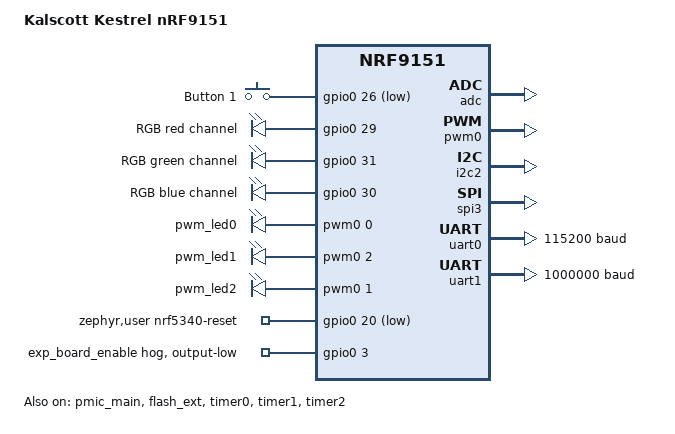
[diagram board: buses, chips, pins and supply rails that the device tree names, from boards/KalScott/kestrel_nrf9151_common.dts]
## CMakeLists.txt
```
cmake_minimum_required(VERSION 3.20.0)
find_package(Zephyr REQUIRED HINTS $ENV{ZEPHYR_BASE})

project(provision_config)

zephyr_include_directories(drivers)
target_sources(app PRIVATE src/main.c)
target_sources(app PRIVATE src/fota.c)
target_sources(app PRIVATE src/enc.c)
target_sources(app PRIVATE src/ca.c)
target_sources(app PRIVATE src/aes.c)
target_sources(app PRIVATE src/private.c)
target_sources(app PRIVATE src/public.c)
target_sources(app PRIVATE drivers/led/led_driver.c)
target_sources(app PRIVATE src/test.c)
# target_sources(app PRIVATE src/pem_command.c)
# target_sources(app PRIVATE src/shell_commands.c)
target_sources(app PRIVATE src/config.c)
target_sources(app PRIVATE src/encryption_helper.c)
```

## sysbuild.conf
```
SB_CONFIG_BOOTLOADER_MCUBOOT=y
SB_CONFIG_BOOT_SIGNATURE_KEY_FILE="C:/Users/leona/Desktop/autobuilder/bob/nrid001/nrid001_boot.pem"
SB_CONFIG_BOOT_SIGNATURE_TYPE_ECDSA_P256=y
SB_CONFIG_SECURE_BOOT_SIGNING_KEY_FILE="C:/Users/leona/Desktop/autobuilder/bob/nrid001/nrid001_boot.pem"
SB_CONFIG_SECURE_BOOT_SIGNATURE_TYPE_ECDSA=y
```

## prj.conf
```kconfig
# System
CONFIG_REBOOT=y

# Logging
CONFIG_LOG=y
CONFIG_LOG_PRINTK=y
CONFIG_LOG_CMDS=y
CONFIG_LOG_DEFAULT_LEVEL=3
# Enable log colors
CONFIG_LOG_BACKEND_SHOW_COLOR=y


CONFIG_SERIAL=y
CONFIG_GPIO=y

# Peripherals
CONFIG_DK_LIBRARY=y
CONFIG_I2C=y


# Newlib
CONFIG_NEWLIB_LIBC=y
CONFIG_FPU=y
CONFIG_NEWLIB_LIBC_FLOAT_PRINTF=y

# Networking
CONFIG_NETWORKING=y
CONFIG_NET_NATIVE=n
CONFIG_NET_SOCKETS_OFFLOAD=y
CONFIG_NET_SOCKETS=y
CONFIG_POSIX_API=y

# Memory
CONFIG_THREAD_ANALYZER=y


# Modem library
CONFIG_NRF_MODEM_LIB=y
CONFIG_MODEM_KEY_MGMT=y
CONFIG_MODEM_INFO=y
CONFIG_MODEM_INFO_ADD_NETWORK=y
CONFIG_MODEM_INFO_ADD_SIM=y
CONFIG_MODEM_INFO_ADD_SIM_IMSI=y
CONFIG_MODEM_INFO_ADD_SIM_ICCID=y
CONFIG_MODEM_INFO_ADD_DEVICE=y
CONFIG_MODEM_INFO_ADD_DATE_TIME=n


# LTE link control
CONFIG_LTE_LINK_CONTROL=y
CONFIG_LTE_NETWORK_MODE_LTE_M_NBIOT_GPS=y
CONFIG_LTE_LC_EDRX_MODULE=n
CONFIG_LTE_LC_PSM_MODULE=y

# AT commands interface
CONFIG_AT_HOST_LIBRARY=n
CONFIG_UART_INTERRUPT_DRIVEN=y

# MQTT
# Enable and configure the MQTT library
CONFIG_MQTT_LIB=y
CONFIG_MQTT_CLEAN_SESSION=y

# Core settings API
CONFIG_SETTINGS=y

# Store in a flash circular buffer
CONFIG_FCB=y
CONFIG_SETTINGS_FCB=y
CONFIG_SETTINGS=y

# Flash and mapping
CONFIG_FLASH=y
CONFIG_FLASH_MAP=y

# Shell & logging on your existing console
CONFIG_SHELL=y
CONFIG_SHELL_BACKEND_SERIAL=y   # use the existing console UART/USB-CDC
CONFIG_SHELL_LOG_BACKEND=y      # pipe LOG_* into the shell prompt
CONFIG_UART_INTERRUPT_DRIVEN=y  # required by the shell’s serial backend
CONFIG_SHELL_PROMPT_UART="x"
CONFIG_NEWLIB_LIBC=y
CONFIG_SHELL_CMDS=y

CONFIG_DK_LIBRARY=y
CONFIG_GPIO=y
CONFIG_SENSOR=y
CONFIG_NRF_MODEM_LIB=y

CONFIG_NET_PKT_RX_COUNT=4
CONFIG_NET_BUF_RX_COUNT=8
CONFIG_NET_BUF_DATA_SIZE=256

CONFIG_MAIN_STACK_SIZE=10000
CONFIG_LOG_BUFFER_SIZE=6000
CONFIG_HEAP_MEM_POOL_SIZE=32000  
CONFIG_SYSTEM_WORKQUEUE_STACK_SIZE=8096
CONFIG_MBEDTLS_HEAP_SIZE=3200

#TLS
CONFIG_NETWORKING=y
CONFIG_NET_NATIVE=n
CONFIG_NET_SOCKETS_OFFLOAD=y
# Enable TLS support in Zephyr sockets
CONFIG_NET_SOCKETS=y
CONFIG_MQTT_LIB_TLS=y
# Enable MbedTLS for TLS
CONFIG_MBEDTLS=y
CONFIG_MBEDTLS_ENABLE_HEAP=y
# Enable modem TLS credential storage
CONFIG_MODEM_KEY_MGMT=y

#crypto
# Enable PSA Crypto core
CONFIG_NRF_SECURITY=y
CONFIG_BUILD_WITH_TFM=y
CONFIG_MBEDTLS_PSA_CRYPTO_C=y
CONFIG_PSA_WANT_GENERATE_RANDOM=y
CONFIG_PSA_WANT_KEY_TYPE_AES=y
CONFIG_PSA_WANT_ALG_GCM=y
CONFIG_TFM_PROFILE_TYPE_NOT_SET=y
CONFIG_PSA_CRYPTO_DRIVER_CC3XX=y
CONFIG_PM_PARTITION_SIZE_TFM_SRAM=0x10000
CONFIG_BOOTLOADER_MCUBOOT=y
CONFIG_MBEDTLS_PSA_CRYPTO_STORAGE_C=y
CONFIG_TFM_ITS_ENCRYPTED=y
CONFIG_PSA_WANT_ALG_PBKDF2_HMAC=y
CONFIG_PSA_WANT_ALG_SHA3_256=y
CONFIG_PSA_WANT_KEY_TYPE_PASSWORD=y
CONFIG_PSA_WANT_ALG_HMAC=y


# Image manager
CONFIG_IMG_MANAGER=y
CONFIG_FLASH=y
CONFIG_FLASH_MAP=y
CONFIG_STREAM_FLASH=y
CONFIG_IMG_ERASE_PROGRESSIVELY=y
CONFIG_DOWNLOADER=y
CONFIG_DOWNLOADER_STACK_SIZE=4096
CONFIG_DFU_TARGET=y
CONFIG_MODEM_KEY_MGMT=y
CONFIG_FOTA_DOWNLOAD=y

CONFIG_SHELL_STACK_SIZE=6096
CONFIG_SHELL=y
CONFIG_SHELL_CMDS=n
CONFIG_SHELL_DEVICE_HELPERS=n
CONFIG_SHELL=y
CONFIG_SHELL_BACKEND_SERIAL=y   # use the existing console UART/USB-CDC
CONFIG_SHELL_LOG_BACKEND=y      # pipe LOG_* into the shell prompt
CONFIG_UART_INTERRUPT_DRIVEN=y  # required by the shell’s serial backend
CONFIG_SHELL_PROMPT_UART="x"
CONFIG_NEWLIB_LIBC=y
CONFIG_DATE_SHELL=n
CONFIG_DEVICE_SHELL=n
CONFIG_DEVMEM_SHELL=n
CONFIG_KERNEL_SHELL=n
CONFIG_SHELL_BACKEND_SERIAL_RX_RING_BUFFER_SIZE=528

CONFIG_NET_BUF=y
CONFIG_ZCBOR=y
CONFIG_CRC=y
CONFIG_MCUMGR=y
CONFIG_STREAM_FLASH=y
CONFIG_FLASH_MAP=y
CONFIG_THREAD_MONITOR=y
CONFIG_MCUMGR_GRP_OS_TASKSTAT=y
CONFIG_STATS=y
CONFIG_STATS_NAMES=y
CONFIG_FLASH=y
CONFIG_IMG_MANAGER=y
CONFIG_MCUMGR_GRP_IMG=y
CONFIG_MCUMGR_GRP_OS=y
CONFIG_MCUMGR_GRP_STAT=y
CONFIG_MCUBOOT_UTIL_LOG_LEVEL_WRN=y
CONFIG_MCUMGR_GRP_OS_ECHO=y
CONFIG_BASE64=y
CONFIG_CRC=y
CONFIG_MCUMGR_TRANSPORT_UART=y
CONFIG_CONSOLE=y
CONFIG_UART_INTERRUPT_DRIVEN=y
# CONFIG_UART_CONSOLE=n
# CONFIG_SHELL=y
# CONFIG_SHELL_BACKEND_DUMMY=y
# CONFIG_MCUMGR_TRANSPORT_DUMMY=y
# CONFIG_MCUMGR_TRANSPORT_SHELL=y
# CONFIG_SHELL_LOG_BACKEND=n
# CONFIG_SHELL_BACKEND_SERIAL=n

CONFIG_MCUMGR_LOG_LEVEL_DBG=y
CONFIG_DOWNLOADER_LOG_LEVEL_DBG=y
CONFIG_FOTA_DOWNLOAD_LOG_LEVEL_DBG=y
CONFIG_LTE_LINK_CONTROL_LOG_LEVEL_DBG=y
```

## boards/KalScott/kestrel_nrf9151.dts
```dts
/*
 * Copyright (c) 2024 Nordic Semiconductor
 * SPDX-License-Identifier: LicenseRef-Nordic-5-Clause
 */

/dts-v1/;
#include <nordic/nrf9151_laca.dtsi>
#include "kestrel_nrf9151_common.dts"

/ {
	chosen {
		zephyr,sram = &sram0;
		zephyr,flash = &flash0;
		zephyr,code-partition = &slot0_partition;
		zephyr,wifi = &nordic_wlan0;
	};
};
```

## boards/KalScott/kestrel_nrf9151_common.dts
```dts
/*
 * Copyright (c) 2024 Nordic Semiconductor
 * SPDX-License-Identifier: LicenseRef-Nordic-5-Clause
 */

#include "kestrel_nrf9151_common-pinctrl.dtsi"
#include "kestrel_common.dtsi"

/ {
	model = "Kalscott Kestrel nRF9151";
	compatible = "Kalscott,kestrel-nrf9151";

	chosen {
		zephyr,console = &uart0;
		zephyr,shell-uart = &uart0;
		zephyr,uart-mcumgr = &uart0;
		nordic,pm-ext-flash = &flash_ext;
	};

	buttons {
		compatible = "gpio-keys";

		button0: button_0 {
			gpios = <&gpio0 26 (GPIO_PULL_UP | GPIO_ACTIVE_LOW)>;
			label = "Button 1";
		};
	};

	leds {
		compatible = "gpio-leds";
		red_led: led_1 {
			gpios = <&gpio0 29 0>;
			label = "RGB red channel";
		};
		green_led: led_2 {
			gpios = <&gpio0 31 0>;
			label = "RGB green channel";
		};
		blue_led: led_3 {
			gpios = <&gpio0 30 0>;
			label = "RGB blue channel";
		};
	};

	pwmleds {
		compatible = "pwm-leds";
		pwm_led0: pwm_led_0 {
			pwms = <&pwm0 0 PWM_MSEC(8) PWM_POLARITY_NORMAL>;
		};
		pwm_led1: pwm_led_1 {
			pwms = <&pwm0 2 PWM_MSEC(8) PWM_POLARITY_NORMAL>;
		};
		pwm_led2: pwm_led_2 {
			pwms = <&pwm0 1 PWM_MSEC(8) PWM_POLARITY_NORMAL>;
		};
	};
	zephyr,user {
		nrf5340-reset-gpios = <&gpio0 20 GPIO_ACTIVE_LOW>;
	};

	aliases {
		sw0 = &button0;
		led0 = &red_led;
		led1 = &green_led;
		led2 = &blue_led;
		pwm-led0 = &pwm_led0;
		pwm-led1 = &pwm_led1;
		pwm-led2 = &pwm_led2;
		rgb-pwm = &pwm0;
		mcuboot-button0 = &button0;
		spi-flash0 = &flash_ext;
	};
};

&adc {
	status = "okay";
};

&gpiote {
	status = "okay";
};

&gpio0 {
	status = "okay";
	/* Use PORT event rather than GPIOTE IN event, to save power */
	sense-edge-mask = <0xffffffff>;
	/* Load switch controlling 3.3V supply and I/O voltage for external boards */
	exp_board_enable: exp_board_enable {
		gpio-hog;
		output-low;
		gpios = <3 GPIO_ACTIVE_HIGH>;
	};
};

/* PWM0 is intended for RGB LED control */
&pwm0 {
	status = "okay";
	pinctrl-0 = <&pwm0_default>;
	pinctrl-1 = <&pwm0_sleep>;
	pinctrl-names = "default", "sleep";
};

&pmic_main {
	host-int-gpios = <&gpio0 2 GPIO_ACTIVE_HIGH>; //INT1
};
&accelerometer_hp {
	irq-gpios = <&gpio0 6 GPIO_ACTIVE_LOW>; //INT2
};
&magnetometer {
	drdy-gpios = <&gpio0 7 GPIO_ACTIVE_LOW>; //INT3
};
&accelerometer_lp {
	int1-gpios = <&gpio0 11 GPIO_ACTIVE_HIGH>; //INT4
};

&flash_ext {
	status = "okay";
};

&nrf70 {
	iovdd-ctrl-gpios = <&gpio0 27 (GPIO_ACTIVE_HIGH | GPIO_PULL_DOWN)>;
	bucken-gpios = <&gpio0 28 (GPIO_ACTIVE_HIGH | GPIO_PULL_DOWN)>;
	host-irq-gpios = <&gpio0 16 GPIO_ACTIVE_HIGH>;
};

&i2c2 {
	status = "okay";
};
&spi3 {
	status = "okay";
	cs-gpios = <&gpio0 12 GPIO_ACTIVE_LOW>, // FLASH_CS
		   <&gpio0 17 GPIO_ACTIVE_LOW>, // WIFI_CS
		   <&gpio0 10 GPIO_ACTIVE_LOW>; // BMI270_CS
};

&pmic_main {
	status = "okay";
	npm1300_gpios {
		status = "okay";
	};
	regulators {
		status = "okay";
	};
	charger {
		status = "okay";
	};
};

&timer0 {
	status = "okay";
};

&timer1 {
	status = "okay";
};

&timer2 {
	status = "okay";
};

&uart0 {
	compatible = "nordic,nrf-uarte";
	current-speed = <115200>;
	status = "okay";
	pinctrl-0 = <&uart0_default>;
	pinctrl-1 = <&uart0_sleep>;
	pinctrl-names = "default", "sleep";
};

&uart1 {
	current-speed = <1000000>;
	status = "okay";
	pinctrl-0 = <&uart1_default>;
	pinctrl-1 = <&uart1_sleep>;
	pinctrl-names = "default", "sleep";
};

/* Include default memory partition configuration file. */
/* This is not the layout that's actually used! It's overridden by Partition Manager. */
#include <common/nordic/nrf91xx_partition.dtsi>
```

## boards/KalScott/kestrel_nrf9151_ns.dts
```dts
/*
 * Copyright (c) 2024 Nordic Semiconductor
 * SPDX-License-Identifier: LicenseRef-Nordic-5-Clause
 */

/dts-v1/;
#include <nordic/nrf9151ns_laca.dtsi>
#include "kestrel_nrf9151_common.dts"

/ {
	chosen {
		zephyr,flash = &flash0;
		zephyr,sram = &sram0_ns_app;
		zephyr,code-partition = &slot0_ns_partition;
		zephyr,wifi = &nordic_wlan0;
	};
};

/* Disable Zephyr driver for UART1. This port is reserved for modem traces and T-FM logging.
 */
&uart1 {
	status = "disabled";
};
```

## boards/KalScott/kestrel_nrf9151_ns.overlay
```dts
&i2c2 {
	status = "okay";
	clock-frequency = <I2C_BITRATE_FAST>;
    zephyr,concat-buf-size = <64>;
    zephyr,flash-buf-max-size = <64>;
};

&bme680 {
	status = "okay";
};

&magnetometer {
    status = "okay";
};

&accelerometer_hp {
    status = "okay";
};

&accelerometer_lp {
    status = "okay";
};

/ {

	aliases {
		temp-sensor = &bme680;
		imu = &accelerometer_hp;
		magnetometer = &magnetometer;
		acl = &accelerometer_lp;
	};
};

&flash_ext {
    status = "okay";
};

&spi3 {
	status = "okay";
};
```

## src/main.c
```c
#include <zephyr/kernel.h>
#include "certs.h"
#include <modem/modem_key_mgmt.h>
#include <modem/nrf_modem_lib.h>
#include <nrf_modem_gnss.h>
#include <nrf_modem_at.h>
#include <modem/lte_lc.h>
#include <zephyr/shell/shell.h>
#include <psa/protected_storage.h>
#include <psa/crypto.h>
#include <stdio.h>
#include <string.h>
#include <stdlib.h>
#include <tfm_ns_interface.h>
#include "fota.h"
#include "enc.h"
#include "test.h"
#include "config.h"
#include <zephyr/kernel.h>
#include <zephyr/shell/shell.h>
#include <zephyr/init.h>
#include <zephyr/sys/printk.h>
#include <ctype.h>
#define TLS_SEC_TAG 42



#define PBKDF2_ITERATIONS 64000u

#define NRF_CRYPTO_EXAMPLE_HMAC_TEXT_SIZE (100)
#define NRF_CRYPTO_EXAMPLE_HMAC_KEY_SIZE (32)
#define SAMPLE_PERS_KEY_ID				PSA_KEY_ID_USER_MIN
#define PRINT_HEX(p_label, p_text, len)\
	({\
		LOG_INF("---- %s (len: %u): ----", p_label, len);\
		LOG_HEXDUMP_INF(p_text, len, "Content:");\
		LOG_INF("---- %s end  ----", p_label);\
	})

LOG_MODULE_REGISTER(hmac, LOG_LEVEL_DBG);
#define HMAC_KEY_ID ((psa_key_id_t)0x6001)
#define HMAC_KEY_LEN 32







static inline uint16_t read_u16_le(const uint8_t *p) {
    return p[0] | (p[1] << 8);
}

static inline uint32_t read_u32_le(const uint8_t *p) {
    return p[0] | (p[1] << 8) | (p[2] << 16) | (p[3] << 24);
}



static bool aad_equals_key(const ConfigEntry *e, const char *key)
{
    size_t klen = strlen(key);
    return (e->aad_len == klen) && (memcmp(e->aad, key, klen) == 0);
}

static int hex_nibble(char c){
    if (c>='0'&&c<='9') return c-'0';
    c=(char)tolower((unsigned char)c);
    if (c>='a'&&c<='f') return 10+(c-'a');
    return -1;
}
static bool is_hex(const char* s,size_t n){
    if(n==0||(n&1)) return false;
    for(size_t i=0;i<n;i++){
        char c=s[i];
        if(!((c>='0'&&c<='9')||(c>='a'&&c<='f')||(c>='A'&&c<='F'))) return false;
    }
    return true;
}
static bool hex_to_bytes(const char*hex,size_t n,uint8_t*out,size_t*out_len){
    if(!is_hex(hex,n)) return false;
    size_t m=n/2;
    for(size_t i=0;i<m;i++){
        int hi=hex_nibble(hex[2*i]), lo=hex_nibble(hex[2*i+1]);
        if(hi<0||lo<0) return false;
        out[i]=(uint8_t)((hi<<4)|lo);
    }
    *out_len=m; return true;
}

static const ConfigEntry* find_entry(const char* key){
    size_t klen=strlen(key);
    for(int i=0;i<num_entries;i++){
        if(entries[i].aad_len==klen && memcmp(entries[i].aad,key,klen)==0) return &entries[i];
    }
    return NULL;
}

static int derive_pbkdf2_sha256(const uint8_t* pw,size_t pw_len,
                                const uint8_t* salt,size_t salt_len,
                                uint32_t iters,uint8_t*out,size_t out_len){
    psa_status_t st;
    psa_key_derivation_operation_t op=PSA_KEY_DERIVATION_OPERATION_INIT;
    st=psa_key_derivation_setup(&op, PSA_ALG_PBKDF2_HMAC(PSA_ALG_SHA_256)); if(st) goto done;
    st=psa_key_derivation_input_integer(&op, PSA_KEY_DERIVATION_INPUT_COST, iters); if(st) goto done;
    st=psa_key_derivation_input_bytes(&op, PSA_KEY_DERIVATION_INPUT_SALT, salt, salt_len); if(st) goto done;
    st=psa_key_derivation_input_bytes(&op, PSA_KEY_DERIVATION_INPUT_PASSWORD, pw, pw_len); if(st) goto done;
    st=psa_key_derivation_output_bytes(&op, out, out_len);
done:
    psa_key_derivation_abort(&op);
    return st==PSA_SUCCESS?0:-1;
}









static int provision_cert(enum modem_key_mgmt_cred_type type, const uint8_t *data, size_t data_len)
{
    printk("Provisioning certificate type %d...\n", type);
    bool exists;
    modem_key_mgmt_exists(TLS_SEC_TAG, type, &exists);
    if (exists) { 
        printk("Certificate type %d already exists.\n", type);
        return 0;
    }

    printk("Writing certificate type %d...\n", type);
    return modem_key_mgmt_write(TLS_SEC_TAG, type, data, data_len);
}



psa_status_t key_exists(psa_key_id_t key_id)
{
    psa_status_t status;
    psa_key_attributes_t attr = PSA_KEY_ATTRIBUTES_INIT;

    status = psa_get_key_attributes(key_id, &attr);
    psa_reset_key_attributes(&attr);

    if (status == PSA_SUCCESS) {
        printk("Key 0x%08x exists.\n", key_id);
    } else if (status == PSA_ERROR_DOES_NOT_EXIST) {
        printk("Key 0x%08x does NOT exist.\n", key_id);
    } else {
        printk("Failed to query key 0x%08x (status: %d)\n", key_id, status);
    }

    return status;
}

int provision_all(void)
{
	int err = 0;

        err = nrf_modem_lib_init();
	if (err) {
                
		return err;
	}

	err = provision_cert(MODEM_KEY_MGMT_CRED_TYPE_CA_CHAIN, ca_cert, ca_cert_len);
    printk("provision ca_cert: %d\n", err);
    err = provision_cert(MODEM_KEY_MGMT_CRED_TYPE_PUBLIC_CERT, public_cert, public_cert_len);
    printk("provision public_cert: %d\n", err);
    err = provision_cert(MODEM_KEY_MGMT_CRED_TYPE_PRIVATE_CERT, private_key, private_key_len);
    printk("provision private_key: %d\n", err);

	err = provision_config_data();
	if (err) {
		printk("Failed to provision config data: %d\n", err);
	}

	return err;
}


int main(void)
{
        k_sleep(K_MSEC(2000)); 
        printk("TESTING HMAC\n");
        test();
        printk("HMAC test completed.\n");
        k_sleep(K_MSEC(1000));
        printk("Starting provisioning...\n");
        provision_all();
        printk("Provisioning finished.\n");
		k_sleep(K_MSEC(1000));
		parse_encrypted_blob();
        config_init();
		

		printf("Parsed %d config entries\n", num_entries);
		for (int i = 0; i < num_entries; i++) {
			printf("Entry %d at 0x%08X: AAD='%.*s', CT len=%d\n",
				i, entries[i].mem_offset,
				entries[i].aad_len, entries[i].aad,
				entries[i].ciphertext_len
			);
		}

	
		k_sleep(K_MSEC(5000));
        //test_pbkdf2_verify_from_blob_simple();
        k_sleep(K_MSEC(5000 * 1));
		printk("INIT FOTA");
		fota_init_and_start();
		printk("FOTA initialization complete.\n");
        return 0;
}
```

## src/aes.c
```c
#include <stdint.h>
#include <stddef.h>


const uint8_t aes_key[32] = { 0x41, 0x86, 0xa3, 0x9b, 0x76, 0x5a, 0xc8, 0x3b, 0x8f, 0x2a, 0xd6, 0xdb, 0x3c, 0xfd, 0xae, 0xcd, 0xc0, 0x95, 0x37, 0x6c, 0x23, 0x9a, 0x07, 0x2e, 0x97, 0xb7, 0x27, 0xe6, 0x6a, 0x30, 0xab, 0x5f };
const size_t aes_key_len = 32;
```

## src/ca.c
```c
#include <stdint.h>
#include <stddef.h>

const uint8_t ca_cert[2064] = { 0x2d, 0x2d, 0x2d, 0x2d, 0x2d, 0x42, 0x45, 0x47, 0x49, 0x4e, 0x20, 0x43, 0x45, 0x52, 0x54, 0x49, 0x46, 0x49, 0x43, 0x41, 0x54, 0x45, 0x2d, 0x2d, 0x2d, 0x2d, 0x2d, 0x0a, 0x4d, 0x49, 0x49, 0x46, 0x79, 0x54, 0x43, 0x43, 0x41, 0x37, 0x47, 0x67, 0x41, 0x77, 0x49, 0x42, 0x41, 0x67, 0x49, 0x55, 0x50, 0x47, 0x56, 0x7a, 0x38, 0x49, 0x57, 0x79, 0x67, 0x6d, 0x75, 0x51, 0x4d, 0x51, 0x36, 0x4e, 0x32, 0x38, 0x38, 0x36, 0x56, 0x76, 0x44, 0x62, 0x34, 0x71, 0x59, 0x77, 0x44, 0x51, 0x59, 0x4a, 0x4b, 0x6f, 0x5a, 0x49, 0x68, 0x76, 0x63, 0x4e, 0x41, 0x51, 0x45, 0x4c, 0x0a, 0x42, 0x51, 0x41, 0x77, 0x64, 0x44, 0x45, 0x4c, 0x4d, 0x41, 0x6b, 0x47, 0x41, 0x31, 0x55, 0x45, 0x42, 0x68, 0x4d, 0x43, 0x56, 0x56, 0x4d, 0x78, 0x43, 0x7a, 0x41, 0x4a, 0x42, 0x67, 0x4e, 0x56, 0x42, 0x41, 0x67, 0x4d, 0x41, 0x6b, 0x74, 0x54, 0x4d, 0x52, 0x45, 0x77, 0x44, 0x77, 0x59, 0x44, 0x56, 0x51, 0x51, 0x48, 0x44, 0x41, 0x68, 0x4d, 0x59, 0x58, 0x64, 0x79, 0x5a, 0x57, 0x35, 0x6a, 0x0a, 0x5a, 0x54, 0x45, 0x52, 0x4d, 0x41, 0x38, 0x47, 0x41, 0x31, 0x55, 0x45, 0x43, 0x67, 0x77, 0x49, 0x53, 0x32, 0x46, 0x73, 0x63, 0x32, 0x4e, 0x76, 0x64, 0x48, 0x51, 0x78, 0x4d, 0x6a, 0x41, 0x77, 0x42, 0x67, 0x4e, 0x56, 0x42, 0x41, 0x4d, 0x4d, 0x4b, 0x57, 0x56, 0x6a, 0x4d, 0x69, 0x30, 0x78, 0x4f, 0x43, 0x30, 0x79, 0x4d, 0x7a, 0x51, 0x74, 0x4f, 0x54, 0x6b, 0x74, 0x4d, 0x54, 0x55, 0x78, 0x0a, 0x4c, 0x6d, 0x4e, 0x76, 0x62, 0x58, 0x42, 0x31, 0x64, 0x47, 0x55, 0x74, 0x4d, 0x53, 0x35, 0x68, 0x62, 0x57, 0x46, 0x36, 0x62, 0x32, 0x35, 0x68, 0x64, 0x33, 0x4d, 0x75, 0x59, 0x32, 0x39, 0x74, 0x4d, 0x42, 0x34, 0x58, 0x44, 0x54, 0x49, 0x31, 0x4d, 0x44, 0x63, 0x77, 0x4d, 0x7a, 0x49, 0x77, 0x4d, 0x44, 0x49, 0x78, 0x4e, 0x46, 0x6f, 0x58, 0x44, 0x54, 0x4d, 0x31, 0x4d, 0x44, 0x63, 0x77, 0x0a, 0x4d, 0x54, 0x49, 0x77, 0x4d, 0x44, 0x49, 0x78, 0x4e, 0x46, 0x6f, 0x77, 0x64, 0x44, 0x45, 0x4c, 0x4d, 0x41, 0x6b, 0x47, 0x41, 0x31, 0x55, 0x45, 0x42, 0x68, 0x4d, 0x43, 0x56, 0x56, 0x4d, 0x78, 0x43, 0x7a, 0x41, 0x4a, 0x42, 0x67, 0x4e, 0x56, 0x42, 0x41, 0x67, 0x4d, 0x41, 0x6b, 0x74, 0x54, 0x4d, 0x52, 0x45, 0x77, 0x44, 0x77, 0x59, 0x44, 0x56, 0x51, 0x51, 0x48, 0x44, 0x41, 0x68, 0x4d, 0x0a, 0x59, 0x58, 0x64, 0x79, 0x5a, 0x57, 0x35, 0x6a, 0x5a, 0x54, 0x45, 0x52, 0x4d, 0x41, 0x38, 0x47, 0x41, 0x31, 0x55, 0x45, 0x43, 0x67, 0x77, 0x49, 0x53, 0x32, 0x46, 0x73, 0x63, 0x32, 0x4e, 0x76, 0x64, 0x48, 0x51, 0x78, 0x4d, 0x6a, 0x41, 0x77, 0x42, 0x67, 0x4e, 0x56, 0x42, 0x41, 0x4d, 0x4d, 0x4b, 0x57, 0x56, 0x6a, 0x4d, 0x69, 0x30, 0x78, 0x4f, 0x43, 0x30, 0x79, 0x4d, 0x7a, 0x51, 0x74, 0x0a, 0x4f, 0x54, 0x6b, 0x74, 0x4d, 0x54, 0x55, 0x78, 0x4c, 0x6d, 0x4e, 0x76, 0x62, 0x58, 0x42, 0x31, 0x64, 0x47, 0x55, 0x74, 0x4d, 0x53, 0x35, 0x68, 0x62, 0x57, 0x46, 0x36, 0x62, 0x32, 0x35, 0x68, 0x64, 0x33, 0x4d, 0x75, 0x59, 0x32, 0x39, 0x74, 0x4d, 0x49, 0x49, 0x43, 0x49, 0x6a, 0x41, 0x4e, 0x42, 0x67, 0x6b, 0x71, 0x68, 0x6b, 0x69, 0x47, 0x39, 0x77, 0x30, 0x42, 0x41, 0x51, 0x45, 0x46, 0x0a, 0x41, 0x41, 0x4f, 0x43, 0x41, 0x67, 0x38, 0x41, 0x4d, 0x49, 0x49, 0x43, 0x43, 0x67, 0x4b, 0x43, 0x41, 0x67, 0x45, 0x41, 0x73, 0x69, 0x38, 0x71, 0x6f, 0x59, 0x75, 0x62, 0x67, 0x2f, 0x64, 0x47, 0x39, 0x66, 0x36, 0x68, 0x30, 0x36, 0x73, 0x5a, 0x42, 0x55, 0x35, 0x63, 0x4c, 0x72, 0x57, 0x37, 0x70, 0x55, 0x79, 0x6b, 0x56, 0x63, 0x42, 0x33, 0x35, 0x38, 0x4a, 0x38, 0x6d, 0x64, 0x7a, 0x69, 0x0a, 0x6d, 0x39, 0x41, 0x4d, 0x50, 0x44, 0x46, 0x55, 0x48, 0x78, 0x73, 0x39, 0x77, 0x5a, 0x44, 0x79, 0x6b, 0x31, 0x32, 0x79, 0x2b, 0x70, 0x30, 0x75, 0x6d, 0x7a, 0x34, 0x6e, 0x48, 0x65, 0x74, 0x56, 0x45, 0x5a, 0x7a, 0x2f, 0x56, 0x4e, 0x72, 0x39, 0x41, 0x62, 0x2f, 0x58, 0x6b, 0x45, 0x44, 0x68, 0x52, 0x68, 0x42, 0x42, 0x53, 0x6f, 0x39, 0x65, 0x66, 0x47, 0x70, 0x75, 0x6c, 0x45, 0x38, 0x2b, 0x0a, 0x62, 0x7a, 0x4d, 0x32, 0x6b, 0x72, 0x32, 0x62, 0x37, 0x7a, 0x43, 0x56, 0x56, 0x67, 0x36, 0x31, 0x35, 0x79, 0x69, 0x7a, 0x6c, 0x2f, 0x77, 0x37, 0x30, 0x73, 0x77, 0x71, 0x45, 0x69, 0x53, 0x34, 0x69, 0x6a, 0x72, 0x58, 0x31, 0x42, 0x4a, 0x72, 0x68, 0x4b, 0x42, 0x59, 0x4e, 0x52, 0x43, 0x48, 0x36, 0x65, 0x50, 0x66, 0x74, 0x79, 0x76, 0x4f, 0x4d, 0x58, 0x70, 0x2b, 0x69, 0x6d, 0x71, 0x73, 0x0a, 0x41, 0x43, 0x2b, 0x42, 0x73, 0x51, 0x54, 0x6b, 0x34, 0x2b, 0x39, 0x4f, 0x4e, 0x4a, 0x52, 0x6d, 0x35, 0x59, 0x4c, 0x30, 0x41, 0x2f, 0x56, 0x4f, 0x39, 0x51, 0x5a, 0x33, 0x54, 0x49, 0x46, 0x48, 0x38, 0x6b, 0x5a, 0x45, 0x30, 0x50, 0x39, 0x36, 0x46, 0x44, 0x68, 0x41, 0x5a, 0x33, 0x55, 0x49, 0x50, 0x64, 0x58, 0x65, 0x57, 0x56, 0x47, 0x71, 0x38, 0x64, 0x79, 0x51, 0x56, 0x5a, 0x6b, 0x32, 0x0a, 0x4b, 0x69, 0x43, 0x6c, 0x57, 0x58, 0x67, 0x58, 0x4b, 0x77, 0x31, 0x78, 0x2f, 0x53, 0x32, 0x75, 0x4e, 0x4e, 0x57, 0x39, 0x70, 0x35, 0x6f, 0x4f, 0x64, 0x56, 0x79, 0x65, 0x58, 0x6e, 0x4c, 0x2f, 0x4d, 0x76, 0x65, 0x58, 0x74, 0x41, 0x56, 0x30, 0x37, 0x34, 0x61, 0x2f, 0x6a, 0x76, 0x53, 0x72, 0x42, 0x6e, 0x31, 0x34, 0x52, 0x65, 0x73, 0x71, 0x67, 0x6f, 0x66, 0x77, 0x31, 0x51, 0x74, 0x2f, 0x0a, 0x42, 0x52, 0x6c, 0x73, 0x52, 0x75, 0x62, 0x32, 0x44, 0x32, 0x62, 0x41, 0x38, 0x39, 0x69, 0x42, 0x51, 0x71, 0x7a, 0x6c, 0x46, 0x54, 0x75, 0x34, 0x44, 0x6e, 0x45, 0x62, 0x68, 0x32, 0x35, 0x32, 0x37, 0x42, 0x46, 0x6b, 0x44, 0x63, 0x65, 0x78, 0x4e, 0x47, 0x38, 0x7a, 0x4f, 0x69, 0x78, 0x65, 0x76, 0x4a, 0x64, 0x62, 0x75, 0x42, 0x66, 0x61, 0x44, 0x41, 0x47, 0x48, 0x4d, 0x68, 0x6f, 0x62, 0x0a, 0x49, 0x74, 0x51, 0x6f, 0x6b, 0x73, 0x66, 0x58, 0x73, 0x33, 0x61, 0x6e, 0x56, 0x61, 0x52, 0x56, 0x6d, 0x63, 0x38, 0x74, 0x62, 0x33, 0x2b, 0x56, 0x30, 0x4e, 0x32, 0x49, 0x55, 0x30, 0x53, 0x39, 0x41, 0x78, 0x4c, 0x30, 0x57, 0x77, 0x4b, 0x34, 0x75, 0x73, 0x55, 0x31, 0x43, 0x66, 0x54, 0x49, 0x36, 0x57, 0x50, 0x64, 0x42, 0x73, 0x4a, 0x33, 0x41, 0x73, 0x66, 0x49, 0x67, 0x6d, 0x42, 0x6d, 0x0a, 0x66, 0x39, 0x66, 0x46, 0x74, 0x4d, 0x79, 0x50, 0x35, 0x4b, 0x68, 0x30, 0x52, 0x34, 0x55, 0x7a, 0x35, 0x4e, 0x50, 0x36, 0x6f, 0x58, 0x4c, 0x62, 0x33, 0x51, 0x30, 0x79, 0x63, 0x66, 0x37, 0x35, 0x5a, 0x30, 0x65, 0x63, 0x56, 0x30, 0x78, 0x76, 0x4b, 0x6c, 0x6b, 0x50, 0x42, 0x6c, 0x61, 0x38, 0x2f, 0x53, 0x48, 0x64, 0x76, 0x76, 0x42, 0x53, 0x74, 0x43, 0x77, 0x51, 0x30, 0x64, 0x6f, 0x48, 0x0a, 0x32, 0x4a, 0x2b, 0x68, 0x46, 0x30, 0x52, 0x6d, 0x32, 0x39, 0x33, 0x48, 0x61, 0x39, 0x6f, 0x64, 0x70, 0x6d, 0x6f, 0x46, 0x6d, 0x70, 0x4e, 0x6c, 0x4d, 0x4f, 0x47, 0x48, 0x35, 0x6e, 0x45, 0x52, 0x41, 0x65, 0x72, 0x53, 0x44, 0x6e, 0x5a, 0x31, 0x46, 0x57, 0x43, 0x30, 0x33, 0x61, 0x42, 0x4a, 0x4f, 0x34, 0x71, 0x32, 0x59, 0x6d, 0x75, 0x6a, 0x68, 0x6b, 0x51, 0x6e, 0x64, 0x76, 0x32, 0x32, 0x0a, 0x48, 0x35, 0x56, 0x76, 0x42, 0x47, 0x70, 0x35, 0x46, 0x63, 0x6f, 0x54, 0x6f, 0x53, 0x6e, 0x34, 0x43, 0x62, 0x54, 0x70, 0x37, 0x44, 0x70, 0x6c, 0x49, 0x56, 0x73, 0x38, 0x5a, 0x31, 0x79, 0x62, 0x65, 0x73, 0x7a, 0x5a, 0x2b, 0x4e, 0x57, 0x2b, 0x72, 0x6f, 0x6b, 0x54, 0x46, 0x4e, 0x79, 0x72, 0x4a, 0x2f, 0x45, 0x2f, 0x50, 0x58, 0x71, 0x62, 0x65, 0x59, 0x76, 0x52, 0x35, 0x66, 0x34, 0x39, 0x0a, 0x65, 0x4e, 0x73, 0x7a, 0x79, 0x4d, 0x51, 0x47, 0x69, 0x2f, 0x48, 0x51, 0x64, 0x51, 0x59, 0x52, 0x78, 0x35, 0x71, 0x42, 0x5a, 0x6e, 0x70, 0x6c, 0x56, 0x45, 0x33, 0x4a, 0x51, 0x78, 0x4b, 0x45, 0x66, 0x56, 0x46, 0x2f, 0x35, 0x68, 0x4d, 0x63, 0x74, 0x58, 0x42, 0x66, 0x6e, 0x59, 0x42, 0x75, 0x54, 0x79, 0x46, 0x79, 0x49, 0x34, 0x67, 0x34, 0x2b, 0x45, 0x4d, 0x56, 0x69, 0x77, 0x73, 0x43, 0x0a, 0x41, 0x77, 0x45, 0x41, 0x41, 0x61, 0x4e, 0x54, 0x4d, 0x46, 0x45, 0x77, 0x48, 0x51, 0x59, 0x44, 0x56, 0x52, 0x30, 0x4f, 0x42, 0x42, 0x59, 0x45, 0x46, 0x43, 0x61, 0x7a, 0x63, 0x65, 0x4e, 0x76, 0x79, 0x58, 0x7a, 0x42, 0x54, 0x4e, 0x71, 0x44, 0x47, 0x30, 0x2f, 0x4d, 0x32, 0x46, 0x34, 0x75, 0x35, 0x4e, 0x4c, 0x5a, 0x4d, 0x42, 0x38, 0x47, 0x41, 0x31, 0x55, 0x64, 0x49, 0x77, 0x51, 0x59, 0x0a, 0x4d, 0x42, 0x61, 0x41, 0x46, 0x43, 0x61, 0x7a, 0x63, 0x65, 0x4e, 0x76, 0x79, 0x58, 0x7a, 0x42, 0x54, 0x4e, 0x71, 0x44, 0x47, 0x30, 0x2f, 0x4d, 0x32, 0x46, 0x34, 0x75, 0x35, 0x4e, 0x4c, 0x5a, 0x4d, 0x41, 0x38, 0x47, 0x41, 0x31, 0x55, 0x64, 0x45, 0x77, 0x45, 0x42, 0x2f, 0x77, 0x51, 0x46, 0x4d, 0x41, 0x4d, 0x42, 0x41, 0x66, 0x38, 0x77, 0x44, 0x51, 0x59, 0x4a, 0x4b, 0x6f, 0x5a, 0x49, 0x0a, 0x68, 0x76, 0x63, 0x4e, 0x41, 0x51, 0x45, 0x4c, 0x42, 0x51, 0x41, 0x44, 0x67, 0x67, 0x49, 0x42, 0x41, 0x42, 0x5a, 0x4b, 0x5a, 0x53, 0x63, 0x57, 0x63, 0x74, 0x68, 0x43, 0x41, 0x43, 0x66, 0x37, 0x48, 0x2b, 0x42, 0x4a, 0x45, 0x5a, 0x66, 0x71, 0x4e, 0x64, 0x48, 0x44, 0x63, 0x62, 0x6b, 0x4d, 0x6d, 0x43, 0x58, 0x6c, 0x75, 0x52, 0x72, 0x79, 0x47, 0x66, 0x6e, 0x71, 0x75, 0x37, 0x6f, 0x4d, 0x0a, 0x59, 0x75, 0x6f, 0x33, 0x46, 0x6e, 0x6b, 0x45, 0x51, 0x74, 0x34, 0x48, 0x48, 0x66, 0x56, 0x77, 0x45, 0x59, 0x65, 0x42, 0x58, 0x69, 0x37, 0x69, 0x5a, 0x79, 0x6e, 0x30, 0x37, 0x36, 0x42, 0x6e, 0x6b, 0x31, 0x59, 0x49, 0x77, 0x55, 0x6c, 0x65, 0x4d, 0x2b, 0x4e, 0x58, 0x71, 0x4b, 0x68, 0x7a, 0x59, 0x78, 0x47, 0x30, 0x61, 0x67, 0x70, 0x37, 0x6d, 0x34, 0x71, 0x78, 0x54, 0x30, 0x33, 0x38, 0x0a, 0x42, 0x48, 0x33, 0x41, 0x7a, 0x35, 0x75, 0x52, 0x63, 0x76, 0x6b, 0x50, 0x4d, 0x79, 0x42, 0x36, 0x36, 0x2f, 0x59, 0x38, 0x53, 0x6d, 0x51, 0x5a, 0x2f, 0x37, 0x44, 0x53, 0x6f, 0x4a, 0x34, 0x56, 0x35, 0x7a, 0x35, 0x63, 0x50, 0x34, 0x33, 0x65, 0x6f, 0x72, 0x57, 0x74, 0x33, 0x48, 0x6e, 0x6b, 0x59, 0x4a, 0x4a, 0x30, 0x63, 0x68, 0x66, 0x6e, 0x77, 0x34, 0x72, 0x66, 0x6b, 0x4d, 0x50, 0x32, 0x0a, 0x36, 0x61, 0x63, 0x57, 0x72, 0x78, 0x63, 0x32, 0x55, 0x6b, 0x2f, 0x7a, 0x64, 0x35, 0x42, 0x43, 0x76, 0x34, 0x30, 0x35, 0x71, 0x67, 0x36, 0x59, 0x53, 0x34, 0x6a, 0x67, 0x67, 0x4c, 0x58, 0x34, 0x37, 0x6d, 0x71, 0x74, 0x62, 0x55, 0x4d, 0x58, 0x4c, 0x51, 0x34, 0x70, 0x69, 0x39, 0x69, 0x31, 0x69, 0x4a, 0x46, 0x5a, 0x33, 0x4c, 0x50, 0x6b, 0x52, 0x4c, 0x51, 0x54, 0x67, 0x32, 0x4c, 0x4d, 0x0a, 0x31, 0x7a, 0x4f, 0x59, 0x55, 0x69, 0x37, 0x54, 0x74, 0x5a, 0x37, 0x2b, 0x35, 0x47, 0x41, 0x71, 0x58, 0x71, 0x6b, 0x36, 0x37, 0x44, 0x62, 0x32, 0x7a, 0x56, 0x38, 0x42, 0x6a, 0x49, 0x55, 0x68, 0x39, 0x67, 0x61, 0x4b, 0x73, 0x66, 0x65, 0x4b, 0x5a, 0x57, 0x6f, 0x38, 0x5a, 0x76, 0x57, 0x4a, 0x4b, 0x79, 0x4b, 0x37, 0x4d, 0x62, 0x69, 0x37, 0x42, 0x36, 0x66, 0x5a, 0x64, 0x2f, 0x4e, 0x62, 0x0a, 0x74, 0x62, 0x69, 0x4f, 0x4f, 0x58, 0x6e, 0x77, 0x2f, 0x78, 0x50, 0x4e, 0x51, 0x32, 0x64, 0x6a, 0x61, 0x6d, 0x30, 0x6d, 0x70, 0x52, 0x69, 0x41, 0x64, 0x65, 0x4c, 0x6b, 0x35, 0x59, 0x79, 0x2f, 0x4b, 0x71, 0x69, 0x79, 0x47, 0x4e, 0x34, 0x33, 0x33, 0x46, 0x75, 0x63, 0x75, 0x43, 0x31, 0x58, 0x7a, 0x44, 0x76, 0x50, 0x61, 0x30, 0x79, 0x76, 0x4c, 0x69, 0x34, 0x38, 0x39, 0x4b, 0x58, 0x39, 0x0a, 0x59, 0x71, 0x70, 0x56, 0x4d, 0x64, 0x31, 0x37, 0x6a, 0x66, 0x31, 0x78, 0x41, 0x51, 0x44, 0x75, 0x50, 0x6b, 0x4e, 0x38, 0x73, 0x75, 0x37, 0x55, 0x56, 0x31, 0x4a, 0x31, 0x57, 0x32, 0x30, 0x56, 0x50, 0x72, 0x45, 0x72, 0x4f, 0x37, 0x52, 0x65, 0x4f, 0x2f, 0x75, 0x5a, 0x4a, 0x67, 0x31, 0x55, 0x55, 0x57, 0x42, 0x52, 0x41, 0x38, 0x4d, 0x78, 0x61, 0x67, 0x68, 0x32, 0x57, 0x51, 0x6e, 0x77, 0x0a, 0x42, 0x64, 0x4a, 0x41, 0x2f, 0x6b, 0x30, 0x2b, 0x75, 0x4e, 0x67, 0x46, 0x45, 0x47, 0x48, 0x64, 0x70, 0x33, 0x46, 0x55, 0x5a, 0x37, 0x50, 0x6f, 0x6e, 0x66, 0x71, 0x4b, 0x4b, 0x58, 0x41, 0x44, 0x31, 0x2b, 0x54, 0x54, 0x76, 0x6e, 0x4f, 0x54, 0x42, 0x74, 0x38, 0x49, 0x78, 0x78, 0x48, 0x4f, 0x47, 0x37, 0x6f, 0x63, 0x7a, 0x33, 0x73, 0x2f, 0x46, 0x78, 0x47, 0x31, 0x76, 0x69, 0x52, 0x77, 0x0a, 0x77, 0x34, 0x37, 0x78, 0x43, 0x6a, 0x70, 0x76, 0x4d, 0x73, 0x74, 0x76, 0x65, 0x65, 0x4f, 0x54, 0x30, 0x4c, 0x4b, 0x64, 0x35, 0x68, 0x37, 0x6d, 0x73, 0x31, 0x61, 0x57, 0x59, 0x49, 0x77, 0x78, 0x4c, 0x59, 0x33, 0x6c, 0x57, 0x6f, 0x50, 0x47, 0x6b, 0x6c, 0x46, 0x52, 0x4b, 0x6f, 0x46, 0x33, 0x6b, 0x6f, 0x46, 0x78, 0x78, 0x67, 0x75, 0x31, 0x75, 0x42, 0x78, 0x6c, 0x53, 0x47, 0x50, 0x4a, 0x0a, 0x4e, 0x4b, 0x79, 0x4a, 0x68, 0x2f, 0x38, 0x75, 0x6b, 0x78, 0x4e, 0x4b, 0x59, 0x51, 0x2f, 0x73, 0x6b, 0x6a, 0x47, 0x38, 0x32, 0x46, 0x63, 0x46, 0x35, 0x77, 0x66, 0x44, 0x4c, 0x6d, 0x4a, 0x6d, 0x37, 0x76, 0x33, 0x6d, 0x68, 0x76, 0x49, 0x39, 0x6b, 0x65, 0x6c, 0x58, 0x45, 0x74, 0x43, 0x4b, 0x69, 0x4d, 0x30, 0x77, 0x6e, 0x4f, 0x65, 0x50, 0x73, 0x55, 0x2f, 0x45, 0x63, 0x6f, 0x61, 0x58, 0x0a, 0x72, 0x76, 0x4b, 0x64, 0x4f, 0x7a, 0x54, 0x7a, 0x63, 0x35, 0x42, 0x46, 0x35, 0x65, 0x4f, 0x38, 0x68, 0x45, 0x47, 0x75, 0x44, 0x39, 0x69, 0x37, 0x6f, 0x4a, 0x46, 0x72, 0x4a, 0x4f, 0x33, 0x31, 0x76, 0x70, 0x74, 0x4c, 0x75, 0x58, 0x70, 0x4c, 0x33, 0x4a, 0x67, 0x51, 0x66, 0x4c, 0x36, 0x73, 0x46, 0x47, 0x39, 0x57, 0x59, 0x72, 0x33, 0x7a, 0x50, 0x42, 0x6c, 0x66, 0x0a, 0x2d, 0x2d, 0x2d, 0x2d, 0x2d, 0x45, 0x4e, 0x44, 0x20, 0x43, 0x45, 0x52, 0x54, 0x49, 0x46, 0x49, 0x43, 0x41, 0x54, 0x45, 0x2d, 0x2d, 0x2d, 0x2d, 0x2d };
const size_t ca_cert_len = 2064;
```

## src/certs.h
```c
#ifndef CERTS_H
#define CERTS_H

#include <stdint.h>

extern const uint8_t ca_cert[];
extern const uint8_t public_cert[];
extern const uint8_t private_key[];
extern const uint8_t aes_key[];
extern const size_t ca_cert_len;
extern const size_t public_cert_len;
extern const size_t private_key_len;
#endif
```

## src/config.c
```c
#include "config.h"
#include <stdio.h>
#include <string.h>
#include <stdlib.h>
#include <zephyr/logging/log.h>
#include <zephyr/logging/log.h>
#include <zephyr/kernel.h>
#include <zephyr/sys/reboot.h>
#include <zephyr/net/socket.h>
#include <zephyr/net/mqtt.h>
#include <zephyr/net/tls_credentials.h>
#include <zephyr/random/random.h>
#include <nrf_modem_at.h>
#include <modem/modem_key_mgmt.h>
#include <zephyr/sys/crc.h>
#include <zephyr/storage/flash_map.h>
#include "encryption_helper.h"
LOG_MODULE_REGISTER(configuration, LOG_LEVEL_INF);
char json_payload[512] = "NO PVT";
char sensor_payload[512] = "NO SENSOR DATA";
char lte_payload[512] = "NO LTE DATA";
char topic_gps[64] = "gps";
char topic_sensor[64] = "sensor";
char topic_lte[64] = "lte";
char firmware_filename[MQTT_MAX_STR_LEN];
struct mqtt_utf8 struct_pass;
struct mqtt_utf8 struct_user;
system_enable_t sys_enable_config;

mqtt_config_t mqtt_config;
ota_config_t ota_config;
hardware_info_t hw_info;
modem_info_t modem_info;
sensor_config_t sensor_config;
gnss_config_t gnss_config;
customer_info_t customer_info;
message_settings_t msg_settings;


ConfigEntry entries[MAX_ENTRIES];
int num_entries = 0;



int update_crc(void)
{
    const struct flash_area *fa;
    int err = flash_area_open(FLASH_AREA_ID(encrypted_blob_slot0), &fa);
    if (err) {
        LOG_ERR("flash_area_open for CRC failed: %d", err);
        return err;
    }

    uint32_t new_crc = manual_crc32(ENCRYPTED_BLOB_ADDR, ENCRYPTED_BLOB_SIZE - 4);
    uint32_t crc_offset = CRC_LOCATION_OFFSET;
    uint32_t page_start = (crc_offset / FLASH_PAGE_SIZE) * FLASH_PAGE_SIZE;

    static uint8_t page_buf[FLASH_PAGE_SIZE];

    err = flash_area_read(fa, page_start, page_buf, FLASH_PAGE_SIZE);
    if (err) {
        LOG_ERR("flash_area_read for CRC page failed: %d", err);
        flash_area_close(fa);
        return err;
    }

    uint32_t crc_offset_in_page = crc_offset - page_start;
    memcpy(&page_buf[crc_offset_in_page], &new_crc, 4);

    err = flash_area_erase(fa, page_start, FLASH_PAGE_SIZE);
    if (err) {
        LOG_ERR("flash_area_erase CRC page failed: %d", err);
        flash_area_close(fa);
        return err;
    }

    err = flash_area_write(fa, page_start, page_buf, FLASH_PAGE_SIZE);
    if (err) {
        LOG_ERR("CRC write failed: %d", err);
    } else {
        LOG_INF("CRC updated: 0x%08X at offset 0x%x", new_crc, crc_offset);
    }

    flash_area_close(fa);
    return err;
}

uint32_t manual_crc32(const uint8_t *data, size_t len) {
    uint32_t crc = 0xFFFFFFFF;

    LOG_INF("Starting manual CRC-32 over %u bytes", (unsigned int)len);

    for (size_t i = 0; i < len; i++) {
        uint8_t byte = data[i];
        crc ^= byte;
        for (int j = 0; j < 8; j++) {
            if (crc & 1)
                crc = (crc >> 1) ^ 0xEDB88320;
            else
                crc >>= 1;
        }
    }

    crc ^= 0xFFFFFFFF;

    LOG_INF("Final manual CRC-32: 0x%08X", crc);
    return crc;
}

const char *get_config(const char *aad)
{
    static char decrypted[DECRYPTED_OUTPUT_MAX]; // persistent output
    size_t decrypted_len = 0;

    for (int i = 0; i < num_entries; i++) {
        ConfigEntry *e = &entries[i];

        if (e->aad_len == strlen(aad) &&
            memcmp(e->aad, aad, e->aad_len) == 0) {

            int ret = decrypt_config_field_data(
                (const char *)e->ciphertext, e->ciphertext_len,
                (const char *)e->iv,
                (const char *)e->aad, e->aad_len,
                decrypted, &decrypted_len
            );

            if (ret != 0) {
                LOG_ERR("Decryption failed for AAD: %s", aad);
                return NULL;
            }

            decrypted[decrypted_len] = '\0'; // null-terminate
            return decrypted;
        }
    }

    LOG_WRN("AAD not found: %s", aad);
    return "NULL";
}

void parse_encrypted_blob(void)
{
    const uint8_t *start = ENCRYPTED_BLOB_ADDR;
    const uint8_t *end = ENCRYPTED_BLOB_ADDR + ENCRYPTED_BLOB_SIZE;
    const size_t entry_span = ENTRY_SIZE;
    const size_t max_offset = CRC_LOCATION_OFFSET;

    LOG_INF("Begin blob parsing at address %p, total size: %d", (void *)start, ENCRYPTED_BLOB_SIZE);

    uint32_t computed_crc = manual_crc32(start, ENCRYPTED_BLOB_SIZE - 4);
    uint32_t stored_crc = *(uint32_t *)(start + CRC_LOCATION_OFFSET);
    if (computed_crc != stored_crc) {
        LOG_WRN("CRC mismatch: computed=0x%08X, stored=0x%08X", computed_crc, stored_crc);
    } else {
        LOG_INF("CRC check passed: 0x%08X", computed_crc);
    }

    num_entries = 0;

    for (uintptr_t offset = 0; offset + entry_span <= max_offset && num_entries < MAX_ENTRIES; offset += entry_span) {
        const uint8_t *ptr = start + offset;

        if (ptr[0] == 0xFF) {
            continue;
        }

        ConfigEntry *e = &entries[num_entries];
        e->mem_offset = offset;

        e->iv_len = *ptr++;
        if (e->iv_len > MAX_IV_LEN || ptr + e->iv_len > end) {
            LOG_ERR("Invalid or oversized IV length: %d at entry %d", e->iv_len, num_entries);
            continue;
        }
        memcpy(e->iv, ptr, e->iv_len);
        ptr += e->iv_len;

        if (ptr + 2 > end) continue;
        e->aad_len = ptr[0] | (ptr[1] << 8);
        ptr += 2;
        if (e->aad_len > MAX_AAD_LEN || ptr + e->aad_len > end) {
            LOG_ERR("Invalid or oversized AAD length: %d at entry %d", e->aad_len, num_entries);
            continue;
        }
        memcpy(e->aad, ptr, e->aad_len);
        ptr += e->aad_len;

        if (ptr + 2 > end) continue;
        e->ciphertext_len = ptr[0] | (ptr[1] << 8);
        ptr += 2;
        if (e->ciphertext_len > MAX_CIPHERTEXT_LEN || ptr + e->ciphertext_len > end) {
            LOG_ERR("Invalid or oversized ciphertext length: %d at entry %d", e->ciphertext_len, num_entries);
            continue;
        }
        memcpy(e->ciphertext, ptr, e->ciphertext_len);
        ptr += e->ciphertext_len;

        LOG_INF("Parsed entry %d @ offset 0x%04X: IV=%d, AAD=%d, Cipher+Tag=%d",
                num_entries, (int)offset, e->iv_len, e->aad_len, e->ciphertext_len);

        num_entries++;
    }

    LOG_INF("Total parsed entries: %d", num_entries);
}

void parse_hardware_info(hardware_info_t *cfg) {
    const char *val;

    if (!cfg) {
    LOG_ERR("parse_hardware_info: cfg is NULL!");
    return;
    }
    cfg->sn[0] = cfg->hw_ver[0] = cfg->fw_ver[0] = '\0';
    cfg->power_enabled = false;


    val = get_config("hw_info");
    if (val) {

        sscanf(val, "%31[^,],%15[^,],%15[^,]",
               cfg->sn, cfg->hw_ver, cfg->fw_ver);
    }

    val = get_config("pwr_st");
    if (val) {
        cfg->power_enabled = atoi(val) ? true : false;
    }
}

void parse_modem_info(modem_info_t *cfg) {
    const char *val;

    val = get_config("mdm_info");
    if (val) {
        sscanf(val, "%31[^,],%31[^,],%20[^,]", 
               cfg->make, cfg->model, cfg->fw_ver);
    }

    val = get_config("mdm_imei");
    if (val) strncpy(cfg->imei, val, sizeof(cfg->imei) - 1);

    val = get_config("sim_info"); 
    if (val) {
        sscanf(val, "%31[^,],%31[^,]", cfg->sim, cfg->esim);
    }

    val = get_config("lte_bnd");
    if (val) {
        cfg->lte_bandmask = (uint16_t)strtol(val, NULL, 0);
    }
}

void parse_system_enable_config(void) {
    memset(&sys_enable_config, 0, sizeof(sys_enable_config));

    const char *raw = get_config("sys_en");
    if (!raw) {
        return;
    }

    uint16_t bitmask = (uint16_t)strtol(raw, NULL, 0);

    sys_enable_config.lte_en        = bitmask & SYS_EN_LTE_EN;
    sys_enable_config.irid_en       = bitmask & SYS_EN_IRID_EN;
    sys_enable_config.psm_en        = bitmask & SYS_EN_PSM_EN;
    sys_enable_config.hw_en         = bitmask & SYS_EN_HW_EN;
    sys_enable_config.mdm_en        = bitmask & SYS_EN_MDM_EN;
    sys_enable_config.gnss_en       = bitmask & SYS_EN_GNSS_EN;
    sys_enable_config.imu_en        = bitmask & SYS_EN_IMU_EN;
    sys_enable_config.comp_en       = bitmask & SYS_EN_COMP_EN;
    sys_enable_config.baro_en       = bitmask & SYS_EN_BARO_EN;
    sys_enable_config.mqtt_en       = bitmask & SYS_EN_MQTT_EN;
    sys_enable_config.ota_en        = bitmask & SYS_EN_OTA_EN;
    sys_enable_config.debug_mode    = bitmask & SYS_EN_DEBUG_MODE;
    sys_enable_config.factory_mode  = bitmask & SYS_EN_FACTORY_MODE;
}

void parse_mqtt_config(mqtt_config_t *cfg) {
    const char *val;
    val = get_config("mq_rt");
    if (val) cfg->publish_rate = atoi(val);
    val = get_config("mq_addr");
    if (val) strncpy(cfg->broker_addr, val, sizeof(cfg->broker_addr) - 1);
    val = get_config("mq_port");
    if (val) cfg->broker_port = atoi(val);
    val = get_config("mq_clid");
    if (val) strncpy(cfg->client_id, val, sizeof(cfg->client_id) - 1);
    val = get_config("mq_user");
    if (val) strncpy(cfg->username, val, sizeof(cfg->username) - 1);
    val = get_config("mq_pass");
    if (val) strncpy(cfg->password, val, sizeof(cfg->password) - 1);
    val = get_config("mq_tls");
    if (val) cfg->tls_enabled = atoi(val) ? true : false;
    val = get_config("mq_qos");
    if (val) cfg->qos = atoi(val);
}

void parse_ota_config(ota_config_t *cfg) {
    const char *val;
    val = get_config("ota_int");
    if (val) cfg->check_interval = atoi(val);
    val = get_config("ota_addr");
    if (val) strncpy(cfg->server_addr, val, sizeof(cfg->server_addr) - 1);
    val = get_config("ota_port");
    if (val) cfg->server_port = atoi(val);
    val = get_config("ota_user");
    if (val) strncpy(cfg->username, val, sizeof(cfg->username) - 1);
    val = get_config("ota_pass");
    if (val) strncpy(cfg->password, val, sizeof(cfg->password) - 1);
    val = get_config("ota_tls");
    if (val) cfg->tls_enabled = atoi(val) ? true : false;
    val = get_config("ota_cert");
    if (val) strncpy(cfg->cert_tag, val, sizeof(cfg->cert_tag) - 1);
}

void parse_sensor_config(sensor_config_t *cfg) {
    const char *val;

    val = get_config("sens_rt");
    if (val) cfg->sampling_rate = atoi(val);
    else cfg->sampling_rate = 10;

    val = get_config("sens_flt");
    if (val) cfg->filter_window = atoi(val);
    else cfg->filter_window = 5;

    val = get_config("sens_cal");
    if (val) cfg->auto_calibrate = atoi(val) ? true : false;
    else cfg->auto_calibrate = false;
}

void parse_gnss_config(gnss_config_t *cfg) {
    const char *val;

    val = get_config("gnss_rt");
    if (val) cfg->update_rate = atoi(val);
    else cfg->update_rate = 1;

    val = get_config("gnss_ver");
    if (val) strncpy(cfg->version, val, sizeof(cfg->version) - 1);
    else strncpy(cfg->version, "u-blox8", sizeof(cfg->version));

    val = get_config("gnss_con");
    if (val) cfg->constellation_mask = (uint8_t)strtol(val, NULL, 0);
    else cfg->constellation_mask = 0x01;

    val = get_config("gnss_acc");
    if (val) cfg->accuracy_threshold = atoi(val);
    else cfg->accuracy_threshold = 3;
}

void parse_customer_info(customer_info_t *cfg) {
    const char *val;

    val = get_config("uas_num");
    if (val) strncpy(cfg->uas_num, val, sizeof(cfg->uas_num) - 1);

    val = get_config("cust_desc");
    if (val) strncpy(cfg->description, val, sizeof(cfg->description) - 1);

    val = get_config("uas_status");
    if (val) strncpy(cfg->uas_status, val, sizeof(cfg->uas_status) - 1);

    val = get_config("cust_f2");
    if (val) strncpy(cfg->field2, val, sizeof(cfg->field2) - 1);

    val = get_config("cust_f3");
    if (val) strncpy(cfg->field3, val, sizeof(cfg->field3) - 1);

    val = get_config("cust_f4");
    if (val) strncpy(cfg->field4, val, sizeof(cfg->field4) - 1);
}

void parse_message_settings(message_settings_t *cfg) {
    const char *v;

    // Defaults first (optional but recommended)
    strncpy(cfg->msg_format, "JSON", sizeof(cfg->msg_format)-1);
    strncpy(cfg->gps_format, "NMEA", sizeof(cfg->gps_format)-1);
    strncpy(cfg->units,      "METRIC", sizeof(cfg->units)-1);

    v = get_config("msg_fmt"); if (v) { cfg->msg_format[0] = '\0'; strncat(cfg->msg_format, v, sizeof(cfg->msg_format)-1); }
    v = get_config("gps_fmt"); if (v) { cfg->gps_format[0] = '\0'; strncat(cfg->gps_format, v, sizeof(cfg->gps_format)-1); }
    v = get_config("units");   if (v) { cfg->units[0]      = '\0'; strncat(cfg->units,      v, sizeof(cfg->units)-1); }
}



void set_filename(void) {
    const char root[] = "firmware_storage";
    const char file[] = "zephyr_signed.bin";

    char customer[MQTT_MAX_STR_LEN];
    char device[MQTT_MAX_STR_LEN];

    // copy results immediately so we don't lose them
    const char *cfg_val = get_config("name");
    if (cfg_val) {
        strncpy(customer, cfg_val, sizeof(customer));
        customer[sizeof(customer) - 1] = '\0'; // ensure null-terminated
    } else {
        customer[0] = '\0';
    }

    cfg_val = get_config("mq_clid");
    if (cfg_val) {
        strncpy(device, cfg_val, sizeof(device));
        device[sizeof(device) - 1] = '\0';
    } else {
        device[0] = '\0';
    }

    // build path
    snprintf(firmware_filename, sizeof(firmware_filename),
             "%s/%s/%s/%s", root, customer, device, file);

    printf("Firmware filename: %s\n", firmware_filename);
}







void print_hardware_info(void) {
    printf("=== Hardware Information ===\n");
    printf("Serial Number:        %s\n", hw_info.sn);
    printf("HW Version:           %s\n", hw_info.hw_ver);
    printf("FW Version:           %s\n", hw_info.fw_ver);
    printf("Power Status Enable:  %s\n", hw_info.power_enabled ? "Enabled" : "Disabled");
}

void print_modem_info(void) {
    printf("=== Modem Information ===\n");
    printf("Make:                 %s\n", modem_info.make);
    printf("Model:                %s\n", modem_info.model);
    printf("FW Version:           %s\n", modem_info.fw_ver);
    printf("IMEI:                 %s\n", modem_info.imei);
    printf("SIM Provider:         %s\n", modem_info.sim);
    printf("eSIM Provider:        %s\n", modem_info.esim);
    printf("LTE Bandmask:         0x%04X\n", modem_info.lte_bandmask);
}

void print_sensor_config(void) {
    printf("=== Sensor Configuration ===\n");
    printf("Sampling Rate (Hz):   %d\n", sensor_config.sampling_rate);
    printf("Filter Window Size:   %d\n", sensor_config.filter_window);
    printf("Auto Calibration:     %s\n", sensor_config.auto_calibrate ? "Enabled" : "Disabled");
}

void print_gnss_config(void) {
    printf("=== GNSS Configuration ===\n");
    printf("Update Rate (Hz):     %d\n", gnss_config.update_rate);
    printf("Module Version:       %s\n", gnss_config.version);
    printf("Constellation Mask:   0x%02X\n", gnss_config.constellation_mask);
    printf("Accuracy Threshold:   %d meters\n", gnss_config.accuracy_threshold);
}

void print_mqtt_config(void) {
    printf("=== MQTT Configuration ===\n");
    printf("Publish Rate:  %d\n", mqtt_config.publish_rate);
    printf("Broker Addr:   %s\n", mqtt_config.broker_addr);
    printf("Broker Port:   %d\n", mqtt_config.broker_port);
    printf("Client ID:     %s\n", mqtt_config.client_id);
    printf("Username:      %s\n", mqtt_config.username);
    printf("Password:      %s\n", mqtt_config.password);
    printf("TLS Enabled:   %s\n", mqtt_config.tls_enabled ? "Yes" : "No");
    printf("QoS:           %d\n", mqtt_config.qos);
}

void print_ota_config(void) {
    printf("=== OTA Configuration ===\n");
    printf("Check Interval: %d\n", ota_config.check_interval);
    printf("Server Addr:    %s\n", ota_config.server_addr);
    printf("Server Port:    %d\n", ota_config.server_port);
    printf("Username:       %s\n", ota_config.username);
    printf("Password:       %s\n", ota_config.password);
    printf("TLS Enabled:    %s\n", ota_config.tls_enabled ? "Yes" : "No");
    printf("Cert Tag:       %s\n", ota_config.cert_tag);
}

void print_customer_info(void) {
    printf("=== Customer Information ===\n");
    printf("UAS Number:           %s\n", customer_info.uas_num);
    printf("Description:          %s\n", customer_info.description);
    printf("UAS STATUS:           %s\n", customer_info.uas_status);
    printf("Custom Field 2:       %s\n", customer_info.field2);
    printf("Custom Field 3:       %s\n", customer_info.field3);
    printf("Custom Field 4:       %s\n", customer_info.field4);
}

void print_message_settings(void) {
    printf("=== Message Settings ===\n");
    printf("Message Format:       %s\n", msg_settings.msg_format);
    printf("GPS Format:           %s\n", msg_settings.gps_format);
    printf("Units:                %s\n", msg_settings.units);
}

void print_system_enable(void) {
    printf("=== System Enable Flags ===\n");
    printf("LTE Enabled:         %s\n", sys_enable_config.lte_en        ? "Yes" : "No");
    printf("Iridium Enabled:     %s\n", sys_enable_config.irid_en       ? "Yes" : "No");
    printf("Power Save Mode:     %s\n", sys_enable_config.psm_en        ? "Yes" : "No");
    printf("HW Info Reporting:   %s\n", sys_enable_config.hw_en         ? "Yes" : "No");
    printf("Modem Info:          %s\n", sys_enable_config.mdm_en        ? "Yes" : "No");
    printf("GNSS Enabled:        %s\n", sys_enable_config.gnss_en       ? "Yes" : "No");
    printf("IMU Enabled:         %s\n", sys_enable_config.imu_en        ? "Yes" : "No");
    printf("Compass Enabled:     %s\n", sys_enable_config.comp_en       ? "Yes" : "No");
    printf("Barometer Enabled:   %s\n", sys_enable_config.baro_en       ? "Yes" : "No");
    printf("MQTT Enabled:        %s\n", sys_enable_config.mqtt_en       ? "Yes" : "No");
    printf("OTA Enabled:         %s\n", sys_enable_config.ota_en        ? "Yes" : "No");
    printf("Debug Mode:          %s\n", sys_enable_config.debug_mode    ? "Yes" : "No");
    printf("Factory Mode:        %s\n", sys_enable_config.factory_mode  ? "Yes" : "No");
}

void print_all_configs(void) {
    print_hardware_info();
    print_modem_info();
    print_sensor_config();
    print_gnss_config();
    print_mqtt_config();
    print_ota_config();
    print_customer_info();
    print_message_settings();
}

void config_init(void) {
    parse_system_enable_config();
    if (sys_enable_config.debug_mode) {
        print_system_enable();
    }
    LOG_INF("System enable config parsed successfully.");

    if (sys_enable_config.hw_en) {
        memset(&hw_info, 0, sizeof(hw_info));
        parse_hardware_info(&hw_info);
    }
    LOG_INF("Hardware info parsed successfully.");

    if (sys_enable_config.mdm_en) {
        memset(&modem_info, 0, sizeof(modem_info));
        parse_modem_info(&modem_info);
    }
    LOG_INF("Modem info parsed successfully.");

    if (sys_enable_config.imu_en || sys_enable_config.comp_en || sys_enable_config.baro_en) {
        memset(&sensor_config, 0, sizeof(sensor_config));
        parse_sensor_config(&sensor_config);
    }
    LOG_INF("Sensor config parsed successfully.");

    if (sys_enable_config.gnss_en) {
        memset(&gnss_config, 0, sizeof(gnss_config));
        parse_gnss_config(&gnss_config);
    }
    LOG_INF("GNSS config parsed successfully.");

    if (sys_enable_config.mqtt_en) {
        memset(&mqtt_config, 0, sizeof(mqtt_config));
        parse_mqtt_config(&mqtt_config);
        struct_pass.utf8 = mqtt_config.password;
        struct_pass.size = strlen(mqtt_config.password);
        struct_user.utf8 = mqtt_config.username;
        struct_user.size = strlen(mqtt_config.username);
    }
    LOG_INF("MQTT config parsed successfully.");

    if (sys_enable_config.ota_en) {
        memset(&ota_config, 0, sizeof(ota_config));
        parse_ota_config(&ota_config);
        if (ota_config.tls_enabled == false) {
            strncpy(ota_config.cert_tag, "-1", sizeof(ota_config.cert_tag) - 1);
        }
        set_filename();
    }
    LOG_INF("OTA config parsed successfully.");

    memset(&customer_info, 0, sizeof(customer_info));
    parse_customer_info(&customer_info);
    LOG_INF("Customer info parsed successfully.");

    memset(&msg_settings, 0, sizeof(msg_settings));
    parse_message_settings(&msg_settings);
    LOG_INF("Message settings parsed successfully.");

    if (sys_enable_config.debug_mode) {
        print_all_configs();
    }
}
```

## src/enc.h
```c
int provision_config_data(void);
```

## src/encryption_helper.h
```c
int open_persistent_key();

int decrypt_config_field_data(const char *encrypted_data, size_t encrypted_len,
                              const char *iv,
                              const char *additional_data, size_t additional_len,
                              char *output_buf, size_t *output_len);
int encrypt_config_field_data(const char *plaintext_data, size_t plaintext_len,
                              char *iv_out,
                              const char *additional_data, size_t additional_len,
                              char *encrypted_out, size_t *encrypted_len);
int create_encrypted_entry_with_aad(const char *plaintext_aad, const char *plaintext, uint8_t *entry_buf);
```

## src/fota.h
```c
int fota_init_and_start(void);
```
